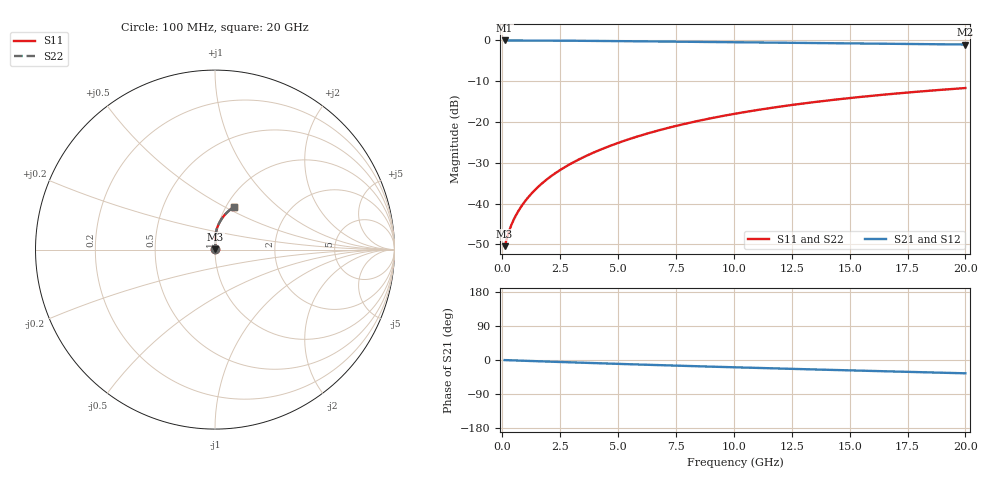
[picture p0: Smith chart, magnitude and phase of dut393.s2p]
! Touchstone file exported from HFSS 2024.1.0
!  File:  C:/UserFiles/LocalFiles/RDL_TSV_Batchsim/temp_RDL_bottom_393_1779614475.aedt
!  Generated:  05:23:45 PM May 24, 2026
!  Design:  RDL_bottom
!  Project:  temp_RDL_bottom_393_1779614475
!  Setup:  Setup1
!  Solution:  Sweep
! Variables:
!  dtsv = 10.80580581um
!  hbump = 3um
!  htsv = 79.5um
!  ldown = 541.29um
!  lrdl = 100um
!  p = 40
!  p1 = 43.45um
!  rhole = 1um
!  t = 450um
!  tdown = 2.99um
!  trdl = 3.915915916um
!  wdown = 26.15um
!  wrdl = 20um
# GHz S MA R 50.000000
! Terminal data exported
! Port[1] = RDL1_T1
! Port[2] = RDL1_T2
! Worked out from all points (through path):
!   200 points, 100 MHz to 20 GHz, reference 50 ohm
!   highest |S21| = -0.02 dB at 100 MHz (marker M1); lowest = -1.0 dB at 20 GHz (marker M2)
!   group delay of S21, straight-line fit = 4.82 ps
!   lowest |S11| = -50.4 dB at 100 MHz (marker M3), VSWR 1.01, Z = 50.3 + j0.127 ohm
!   |S11| at or under -10 dB: start of sweep to end of sweep
!   |S22| runs from -50.4 to -11.7 dB; largest |S21 - S12| = 3.3e-15
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0.1  0.00301 24.8  0.9973 -0.2  0.9973 -0.2  0.00301 24.8
! Gamma 0 0 0 0
! Port Impedance 50 0 50 0
0.3  0.004667 48.9  0.9968 -0.7  0.9968 -0.7  0.004667 48.9
0.4  0.005549 54.6  0.9966 -0.9  0.9966 -0.9  0.005549 54.6
0.5  0.006419 58.8  0.9964 -1.1  0.9964 -1.1  0.006419 58.8
0.6  0.007286 62.3  0.9962 -1.3  0.9962 -1.3  0.007286 62.3
0.8  0.009043 67.6  0.9958 -1.7  0.9958 -1.7  0.009042 67.6
1  0.01085 71.6  0.9955 -2.1  0.9955 -2.1  0.01085 71.6
1.2  0.01271 74.7  0.9951 -2.6  0.9951 -2.6  0.01271 74.7
1.7  0.01755 79.9  0.9939 -3.6  0.9939 -3.6  0.01755 79.9
2.2  0.02264 83.2  0.9924 -4.6  0.9924 -4.6  0.02264 83.2
2.8  0.02906 85.7  0.9902 -5.9  0.9902 -5.9  0.02907 85.7
3.5  0.03698 87.5  0.9872 -7.3  0.9872 -7.3  0.03698 87.5
4.2  0.04534 88.5  0.9837 -8.7  0.9837 -8.7  0.04535 88.5
5  0.0554 89.0  0.9793 -10.2  0.9793 -10.2  0.05541 89.0
5.9  0.06727 88.9  0.9739 -11.9  0.9739 -11.9  0.06728 88.9
6.8  0.07961 88.3  0.9684 -13.6  0.9684 -13.6  0.07962 88.3
8.4  0.1023 86.4  0.9582 -16.5  0.9582 -16.5  0.1023 86.4
10.1  0.1269 83.7  0.9474 -19.4  0.9474 -19.4  0.1269 83.8
11.7  0.15 81.0  0.9375 -22.1  0.9375 -22.1  0.1501 81.0
13.4  0.1742 77.9  0.9272 -24.9  0.9272 -24.9  0.1743 77.9
16.7  0.2191 71.8  0.9078 -30.1  0.9078 -30.1  0.2192 71.9
20  0.2606 66.0  0.8891 -35.1  0.8891 -35.1  0.2607 66.0
